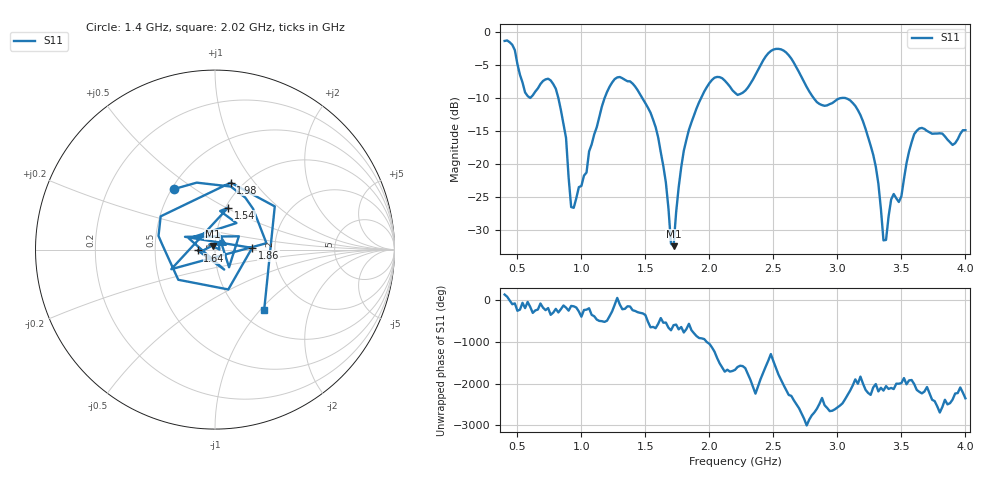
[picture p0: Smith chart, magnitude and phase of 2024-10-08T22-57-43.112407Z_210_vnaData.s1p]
! Created with skrf (http://scikit-rf.org).
# Hz S RI R 50.0
!freq ReS11 ImS11
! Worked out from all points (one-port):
!   181 points, 400 MHz to 4 GHz, reference 50 ohm
!   lowest |S11| = -32.5 dB at 1.72 GHz (marker M1), VSWR 1.05, Z = 48.7 + j1.91 ohm
!   |S11| at or under -10 dB: 820.1 MHz to 1.181 GHz (361.2 MHz wide, 36.1 % of centre); 1.476 GHz to 1.935 GHz (459.4 MHz wide, 26.9 % of centre); 3.063 GHz to end of sweep (the widest 3 of 4)
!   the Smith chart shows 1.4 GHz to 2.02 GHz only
!   S11 on the Smith chart (normalised r, x): 1.4 GHz: 0.51, +0.42; 1.54 GHz: 1.03, +0.51; 1.64 GHz: 0.82, -0.01; 1.86 GHz: 1.52, +0.03; 1.98 GHz: 0.88, +0.77; 2.02 GHz: 1.27, -1.05
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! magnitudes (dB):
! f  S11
! 400 MHz  -1.3
! 580 MHz  -9.7
! 760 MHz  -7.3
! 860 MHz  -13.9
! 920 MHz  -26.6
! 940 MHz  -26.7
! 1.18 GHz  -10.1
! 1.3 GHz  -6.8
! 1.4 GHz  -7.8
! 1.54 GHz  -12.2
! 1.64 GHz  -20.3
! 1.72 GHz  -32.5
! 1.76 GHz  -23.6
! 1.86 GHz  -13.7
! 1.98 GHz  -8.3
! 2.02 GHz  -7.3
! 2.2 GHz  -9.2
! 2.5 GHz  -2.6
! 2.66 GHz  -4.6
! 2.86 GHz  -10.9
! 3.1 GHz  -10.4
! 3.28 GHz  -18.6
! 3.36 GHz  -31.6
! 3.42 GHz  -25.4
! 3.5 GHz  -24.9
! 3.56 GHz  -18.1
! 3.64 GHz  -14.6
! 4 GHz  -14.9
